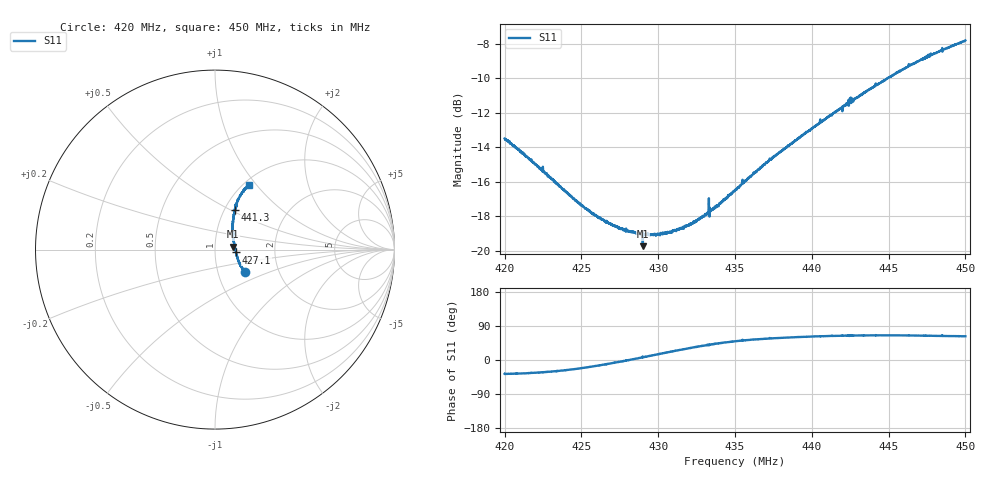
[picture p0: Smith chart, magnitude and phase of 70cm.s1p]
! Calibrated averaged scanner-service zoom
# Hz S RI R 50
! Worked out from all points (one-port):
!   3001 points, 420 MHz to 450 MHz, reference 50 ohm
!   lowest |S11| = -19.7 dB at 429 MHz (marker M1), VSWR 1.23, Z = 61.3 + j1.98 ohm
!   |S11| at or under -10 dB: start of sweep to 444.9 MHz; 444.9296 MHz to 444.9303 MHz (619.8 Hz wide, 0.000139 % of centre)
!   S11 on the Smith chart (normalised r, x): 420 MHz: 1.36, -0.36; 427.1 MHz: 1.26, -0.04; 441.3 MHz: 1.12, +0.53; 450 MHz: 1.06, +0.91
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4.2e8  0.1699 -0.1259
4.2032e8  0.1672 -0.123
4.2118e8  0.1556 -0.1106
4.2264e8  0.1428 -0.0888
4.2375e8  0.1342 -0.0705
4.2469e8  0.1274 -0.0551
4.2571e8  0.1228 -0.0378
4.2623e8  0.1209 -0.0295
4.2706e8  0.117 -0.016
4.275e8  0.1158 -0.00941
4.29e8  0.1018 0.016
4.2914e8  0.11 0.0162
4.2916e8  0.1099 0.016
4.3e8  0.1077 0.0288
4.3068e8  0.1056 0.0405
4.3125e8  0.1037 0.0492
4.3211e8  0.1018 0.0634
4.3306e8  0.0996 0.0788
4.3381e8  0.0984 0.0927
4.35e8  0.0972 0.1136
4.3715e8  0.1005 0.1517
4.3875e8  0.1035 0.1781
4.4134e8  0.1113 0.223
4.425e8  0.1171 0.2423
4.4401e8  0.1261 0.2703
4.4625e8  0.1453 0.3088
4.477e8  0.1623 0.3311
4.5e8  0.1874 0.3612
